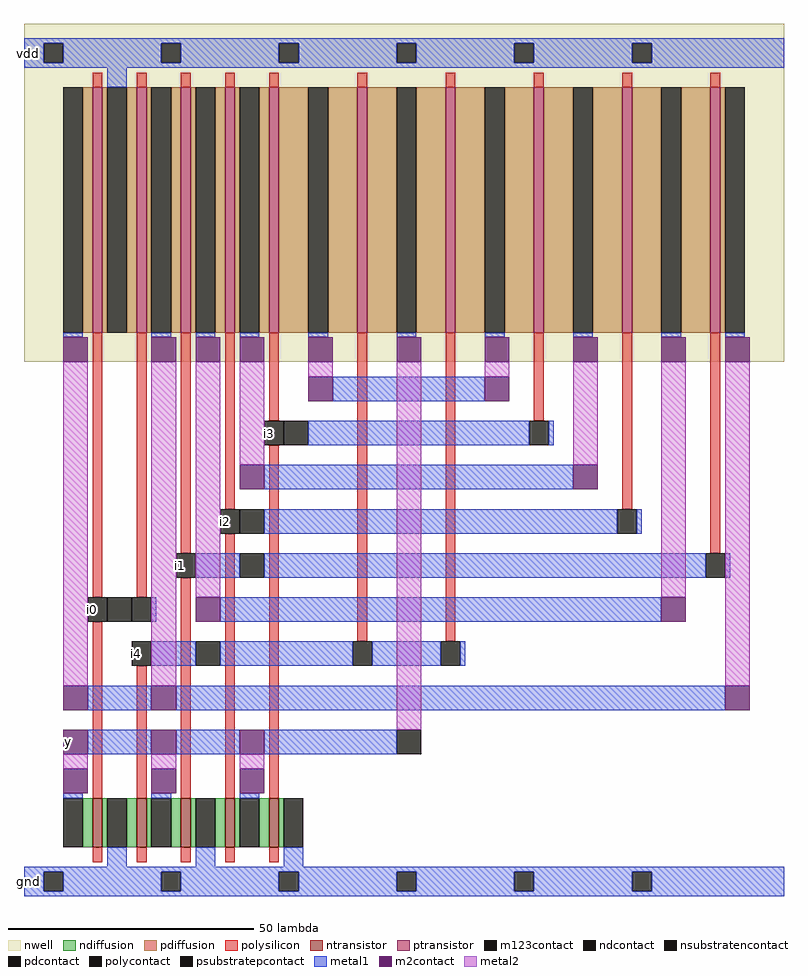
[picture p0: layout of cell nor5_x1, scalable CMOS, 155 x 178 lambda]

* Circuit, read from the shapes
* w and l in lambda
.subckt nor5_x1 i0 i1 i2 i3 i4 y vdd gnd
M1 gnd i0 y gnd nfet w=10 l=2
M2 y i4 gnd gnd nfet w=10 l=2
M3 gnd i1 y gnd nfet w=10 l=2
M4 y i2 gnd gnd nfet w=10 l=2
M5 gnd i3 y gnd nfet w=10 l=2
M6 vdd i0 n1 vdd pfet w=50 l=2 m=2
M7 n2 i1 n1 vdd pfet w=50 l=2 m=2
M8 n3 i2 n2 vdd pfet w=50 l=2 m=2
M9 n4 i3 n3 vdd pfet w=50 l=2 m=2
M10 y i4 n4 vdd pfet w=50 l=2 m=2
.ends

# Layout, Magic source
magic
tech scmos
<< nwell >>
rect 0 109 155 178
<< ntransistor >>
rect 14 10 16 20
rect 23 10 25 20
rect 32 10 34 20
rect 41 10 43 20
rect 50 10 52 20
<< ptransistor >>
rect 14 115 16 165
rect 23 115 25 165
rect 32 115 34 165
rect 41 115 43 165
rect 50 115 52 165
rect 68 115 70 165
rect 86 115 88 165
rect 104 115 106 165
rect 122 115 124 165
rect 140 115 142 165
<< ndiffusion >>
rect 12 10 14 20
rect 16 10 17 20
rect 21 10 23 20
rect 25 10 26 20
rect 30 10 32 20
rect 34 10 35 20
rect 39 10 41 20
rect 43 10 44 20
rect 48 10 50 20
rect 52 10 53 20
<< pdiffusion >>
rect 12 115 14 165
rect 16 115 17 165
rect 21 115 23 165
rect 25 115 26 165
rect 30 115 32 165
rect 34 115 35 165
rect 39 115 41 165
rect 43 115 44 165
rect 48 115 50 165
rect 52 115 58 165
rect 62 115 68 165
rect 70 115 76 165
rect 80 115 86 165
rect 88 115 94 165
rect 98 115 104 165
rect 106 115 112 165
rect 116 115 122 165
rect 124 115 130 165
rect 134 115 140 165
rect 142 115 143 165
<< ndcontact >>
rect 8 10 12 20
rect 17 10 21 20
rect 26 10 30 20
rect 35 10 39 20
rect 44 10 48 20
rect 53 10 57 20
<< pdcontact >>
rect 8 115 12 165
rect 17 115 21 165
rect 26 115 30 165
rect 35 115 39 165
rect 44 115 48 165
rect 58 115 62 165
rect 76 115 80 165
rect 94 115 98 165
rect 112 115 116 165
rect 130 115 134 165
rect 143 115 147 165
<< psubstratepcontact >>
rect 4 1 8 5
rect 28 1 32 5
rect 52 1 56 5
rect 76 1 80 5
rect 100 1 104 5
rect 124 1 128 5
<< nsubstratencontact >>
rect 4 170 8 174
rect 28 170 32 174
rect 52 170 56 174
rect 76 170 80 174
rect 100 170 104 174
rect 124 170 128 174
<< polysilicon >>
rect 14 165 16 168
rect 23 165 25 168
rect 32 165 34 168
rect 41 165 43 168
rect 50 165 52 168
rect 68 165 70 168
rect 86 165 88 168
rect 104 165 106 168
rect 122 165 124 168
rect 140 165 142 168
rect 14 61 16 115
rect 23 61 25 115
rect 32 70 34 115
rect 41 79 43 115
rect 50 97 52 115
rect 14 20 16 56
rect 23 20 25 47
rect 32 20 34 65
rect 41 20 43 74
rect 50 20 52 92
rect 68 52 70 115
rect 86 52 88 115
rect 104 97 106 115
rect 122 79 124 115
rect 140 70 142 115
rect 14 7 16 10
rect 23 7 25 10
rect 32 7 34 10
rect 41 7 43 10
rect 50 7 52 10
<< polycontact >>
rect 49 92 53 97
rect 40 74 44 79
rect 31 65 35 70
rect 13 56 17 61
rect 22 56 26 61
rect 22 47 26 52
rect 103 92 107 97
rect 121 74 125 79
rect 139 65 143 70
rect 67 47 71 52
rect 85 47 89 52
<< metal1 >>
rect 0 174 155 175
rect 0 170 4 174
rect 8 170 28 174
rect 32 170 52 174
rect 56 170 76 174
rect 80 170 100 174
rect 104 170 124 174
rect 128 170 155 174
rect 0 169 155 170
rect 17 165 21 169
rect 8 114 12 115
rect 26 114 30 115
rect 35 114 39 115
rect 44 114 48 115
rect 58 114 62 115
rect 76 114 80 115
rect 94 114 98 115
rect 112 114 116 115
rect 130 114 134 115
rect 143 114 147 115
rect 63 101 94 106
rect 58 92 103 97
rect 107 92 108 97
rect 49 83 112 88
rect 49 74 121 79
rect 125 74 126 79
rect 35 65 44 70
rect 49 65 139 70
rect 143 65 144 70
rect 26 56 27 61
rect 40 56 130 61
rect 26 47 35 52
rect 40 47 67 52
rect 71 47 85 52
rect 89 47 90 52
rect 13 38 26 43
rect 31 38 143 43
rect 13 29 26 34
rect 31 29 44 34
rect 49 29 76 34
rect 8 20 12 21
rect 26 20 30 21
rect 44 20 48 21
rect 17 6 21 10
rect 35 6 39 10
rect 53 6 57 10
rect 0 5 155 6
rect 0 1 4 5
rect 8 1 28 5
rect 32 1 52 5
rect 56 1 76 5
rect 80 1 100 5
rect 104 1 124 5
rect 128 1 155 5
rect 0 0 155 1
<< m2contact >>
rect 8 109 13 114
rect 26 109 31 114
rect 35 109 40 114
rect 44 109 49 114
rect 58 109 63 114
rect 76 109 81 114
rect 94 109 99 114
rect 112 109 117 114
rect 130 109 135 114
rect 143 109 148 114
rect 58 101 63 106
rect 94 101 99 106
rect 44 83 49 88
rect 112 83 117 88
rect 35 56 40 61
rect 130 56 135 61
rect 8 38 13 43
rect 26 38 31 43
rect 143 38 148 43
rect 8 29 13 34
rect 26 29 31 34
rect 44 29 49 34
rect 8 21 13 26
rect 26 21 31 26
rect 44 21 49 26
<< metal2 >>
rect 8 43 13 109
rect 26 43 31 109
rect 35 61 40 109
rect 44 88 49 109
rect 58 106 63 109
rect 76 34 81 109
rect 94 106 99 109
rect 112 88 117 109
rect 130 61 135 109
rect 143 43 148 109
rect 8 26 13 29
rect 26 26 31 29
rect 44 26 49 29
<< m123contact >>
rect 17 56 22 61
rect 53 92 58 97
rect 44 74 49 79
rect 44 65 49 70
rect 35 47 40 52
rect 76 29 81 34
<< labels >>
rlabel metal1 13 56 15 61 0 i0
port 1 nsew
rlabel metal1 31 65 33 70 0 i1
port 2 nsew
rlabel metal1 40 74 42 79 0 i2
port 3 nsew
rlabel metal1 49 92 51 97 0 i3
port 4 nsew
rlabel metal1 22 47 24 52 0 i4
port 5 nsew
rlabel m2contact 8 29 10 34 0 y
port 6 nsew
rlabel metal1 0 169 2 175 0 vdd
port 7 nsew
rlabel metal1 0 0 2 6 0 gnd
port 8 nsew
<< end >>
